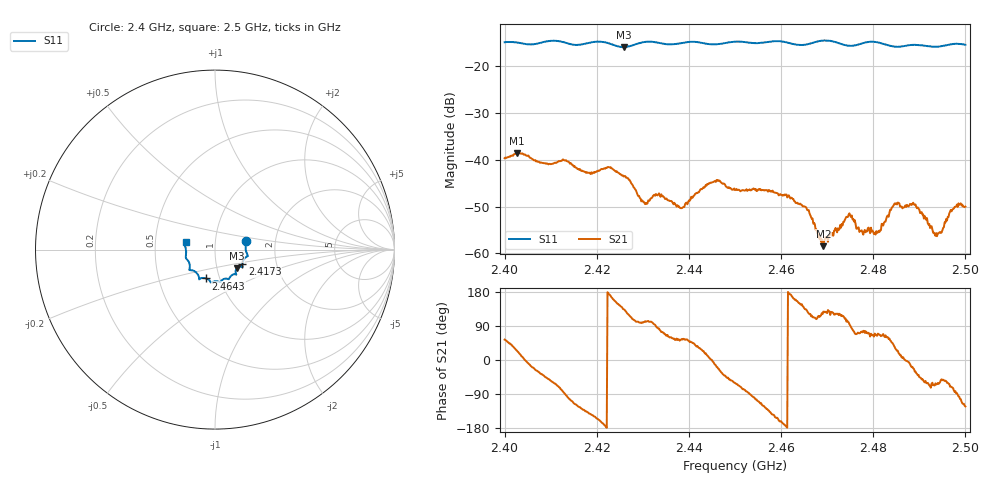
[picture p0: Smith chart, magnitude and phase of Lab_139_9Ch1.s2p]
# Hz S RI R 50
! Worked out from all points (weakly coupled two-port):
!   601 points, 2.4 GHz to 2.5 GHz, reference 50 ohm
!   highest |S21| = -38.54 dB at 2.4027 GHz (marker M1); lowest = -58.5 dB at 2.4692 GHz (marker M2)
!   lowest |S11| = -15.9 dB at 2.4258 GHz (marker M3), VSWR 1.38, Z = 62.3 - j13.2 ohm
!   |S11| at or under -10 dB: start of sweep to end of sweep
!   S12 and S22 are empty: the file has one direction only
!   S11 on the Smith chart (normalised r, x): 2.4 GHz: 1.41, +0.14; 2.4173 GHz: 1.34, -0.23; 2.4643 GHz: 0.86, -0.28; 2.5 GHz: 0.72, +0.06
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2.4e9  0.1735 0.0485  0.00613 0.00837  0 0  0 0
2.402667e9  0.1751 0.0365  0.0108 0.00479  0 0  0 0
2.416667e9  0.1531 -0.0747  -0.00467 -0.00598  0 0  0 0
2.417333e9  0.1522 -0.0823  -0.00505 -0.00546  0 0  0 0
2.425833e9  0.1215 -0.1035  -0.0046 0.00477  0 0  0 0
2.430167e9  0.1176 -0.1372  -0.000624 0.0035  0 0  0 0
2.433333e9  0.1126 -0.1373  0.00051 0.00421  0 0  0 0
2.4385e9  0.0809 -0.1571  0.00172 0.00251  0 0  0 0
2.445167e9  0.0539 -0.1621  0.00573 -0.000423  0 0  0 0
2.45e9  0.0286 -0.1807  0.00233 -0.00412  0 0  0 0
2.464333e9  -0.0499 -0.1606  -0.00274 0.00187  0 0  0 0
2.466667e9  -0.0759 -0.159  -0.00107 0.00208  0 0  0 0
2.469167e9  -0.088 -0.166  -0.000731 0.000941  0 0  0 0
2.4745e9  -0.1017 -0.1308  -0.000436 0.00241  0 0  0 0
2.4775e9  -0.131 -0.1152  0.00046 0.0017  0 0  0 0
2.4805e9  -0.143 -0.1113  0.000619 0.00146  0 0  0 0
2.483333e9  -0.1402 -0.0897  0.00139 0.00202  0 0  0 0
2.485e9  -0.1441 -0.0719  0.00304 0.00157  0 0  0 0
2.488667e9  -0.1621 -0.047  0.00322 -0.0013  0 0  0 0
2.493833e9  -0.1613 -0.00392  0.000679 -0.00136  0 0  0 0
2.497167e9  -0.1698 0.0278  0.000879 -0.00279  0 0  0 0
2.5e9  -0.1638 0.0425  -0.0017 -0.00266  0 0  0 0
